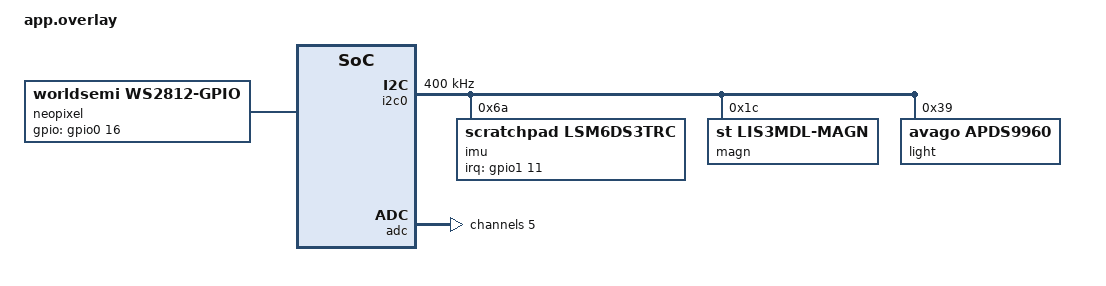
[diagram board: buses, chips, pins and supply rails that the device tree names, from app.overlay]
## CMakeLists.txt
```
# Freestanding Zephyr application: ZEPHYR_BASE must point at the Zephyr repo
# inside ~/zephyrproject.

cmake_minimum_required(VERSION 3.20.0)

# The out-of-tree LSM6DS3TR-C/LSM6DS33 driver. This must be set before
# find_package(Zephyr), because the Zephyr package walks ZEPHYR_EXTRA_MODULES
# while it processes Kconfig and devicetree bindings -- adding it afterwards
# leaves `scratchpad,lsm6ds3trc` an unknown compatible and the node unbound.
list(APPEND ZEPHYR_EXTRA_MODULES ${CMAKE_CURRENT_LIST_DIR}/drivers/lsm6ds3trc)

find_package(Zephyr REQUIRED HINTS $ENV{ZEPHYR_BASE})
project(feather_sense_zephyr)

target_sources(app PRIVATE
  src/main.cpp
  src/battery.cpp
  src/battery_level.cpp
  src/ble.cpp
  src/buttons.cpp
  src/codec.cpp
  src/env.cpp
  src/imu.cpp
  src/led.cpp
  src/magn.cpp
  src/rpc.cpp
  src/shell.cpp
  src/streams.cpp
  src/usb.cpp
)

# The `get build id` RPC (opcode 0x05) reports this. `git describe` is resolved
# at configure time, so a rebuild after a commit picks up the new value only on
# a cmake re-run -- which `west build` does whenever CMakeLists.txt changes and
# `-p auto` forces anyway.
execute_process(
  COMMAND git describe --always --dirty --tags
  WORKING_DIRECTORY ${CMAKE_CURRENT_LIST_DIR}
  OUTPUT_VARIABLE APP_GIT_DESCRIBE
  OUTPUT_STRIP_TRAILING_WHITESPACE
  ERROR_QUIET
)
if(NOT APP_GIT_DESCRIBE)
  set(APP_GIT_DESCRIBE "unknown")
endif()
target_compile_definitions(app PRIVATE APP_GIT_DESCRIBE="${APP_GIT_DESCRIBE}")
```

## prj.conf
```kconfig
# --- language ----------------------------------------------------------------
CONFIG_CPP=y
CONFIG_STD_CPP20=y
CONFIG_REQUIRES_FULL_LIBC=n
CONFIG_MAIN_STACK_SIZE=2048

CONFIG_LOG=y
# Deferred logging keeps formatting off the calling thread. Every sampling
# thread here logs from a timer or a trigger callback, where synchronous mode
# holds a spinlock across the whole USB write.
CONFIG_LOG_MODE_DEFERRED=y
CONFIG_LOG_CMDS=y
CONFIG_SHELL_BACKEND_SERIAL_LOG_LEVEL_INF=y

# --- i2c ---------------------------------------------------------------------
CONFIG_I2C=y
# CONFIG_I2C_NRFX_TWIM is deliberately NOT set here, and cannot be: like
# USE_STDC_LSM6DS3TR_C it is a promptless symbol (drivers/i2c/Kconfig.nrfx:23)
# and assigning it in a config file is a hard Kconfig error. It comes from
# app.overlay re-declaring &i2c0 as "nordic,nrf-twim" and from nowhere else, so
# the way to confirm the DMA peripheral is the one actually bound is
# `grep CONFIG_I2C_NRFX_TWIM build/zephyr/.config` after a build.

# --- sensors -----------------------------------------------------------------
CONFIG_SENSOR=y

# The out-of-tree IMU driver (drivers/lsm6ds3trc/). Its own Kconfig `select`s
# USE_STDC_LSM6DS3TR_C -- that symbol has no prompt, so assigning it here would
# be a hard Kconfig error rather than a no-op.
CONFIG_LSM6DS3TRC=y

# Drain the FIFO on the chip's own watermark interrupt rather than on a timer.
# The `irq-gpios` property in app.overlay is necessary but not sufficient: the
# driver's trigger-mode choice defaults to LSM6DS3TRC_TRIGGER_NONE, so without
# this line the property only makes the trigger *available*. GLOBAL_THREAD
# rather than OWN_THREAD because the handler does nothing but give a semaphore
# -- the draining happens on the application's own imu thread, which already
# exists and is already the highest-priority sampler.
CONFIG_LSM6DS3TRC_TRIGGER_GLOBAL_THREAD=y

# Both of these are traps: the driver's defaults are "0.625" Hz and +-4 gauss,
# neither of which is what this application wants. Output data rate is set,
# never inherited -- the failure mode of getting it wrong is re-reading samples
# the chip has not refreshed.
CONFIG_LIS3MDL_ODR="20"
CONFIG_LIS3MDL_FS=4

# The SHT30 driver defaults to PERIODIC mode at one measurement per second, not
# to the blocking single-shot conversion the design document assumed -- see
# drivers/sensor/sensirion/sht3xd/Kconfig. In periodic mode a fetch is a
# FETCH_DATA command and a read, and the chip NACKs it when no new measurement
# is ready. Against a 1 Hz consumer and a 1 MPS chip that is a race the consumer
# loses whenever it drifts ahead, which showed up as intermittent
# "Failed to fetch samples". Two measurements per second means a 1 Hz reader
# always finds one waiting. Measured on hardware.
CONFIG_SHT3XD_MPS_2=y

# Ambient light only. Gesture sense is off by default and stays off: nothing
# reads it, and it costs an I2C transaction per fetch.
CONFIG_APDS9960_ENABLE_ALS=y
CONFIG_APDS9960_ENABLE_GESTURE=n

# --- battery -----------------------------------------------------------------
# The `vbatt` voltage-divider node is already in the board DTS.
CONFIG_ADC=y

# --- button ------------------------------------------------------------------
CONFIG_GPIO=y
CONFIG_INPUT=y
# CONFIG_INPUT_THREAD_STACK_SIZE is deliberately left at its 1024 default. The
# button callback runs on the input subsystem's own thread and streams::emit()
# builds a batch on the caller's stack -- 242 bytes, sized for a full IMU
# notification even though a button sample is four -- which looked worth a bump
# until it was measured: `kernel thread stacks` after an `input report` shows the
# input thread peaking at 392 bytes, 38 % of the default. Measured, not assumed.

# --- status led --------------------------------------------------------------
CONFIG_LED_STRIP=y
CONFIG_WS2812_STRIP_GPIO=y
# Required, or ws2812_gpio.c does not compile. Left unset -- which is this
# board's default, since it pulls in the newer split HFCLK/LFCLK drivers -- the
# driver takes its `#else` branch at ws2812_gpio.c:139, which references a
# `drv_data` the surrounding function no longer declares. Build error, not a
# runtime one. See README.md, "known limitations".
CONFIG_CLOCK_CONTROL_NRF=y

# --- where the image is linked --------------------------------------------
# Without this the image links at flash offset 0 and `west flash` would write
# it over the s140 SoftDevice -- and over the MBR at 0x0 that the Adafruit
# bootloader itself depends on, which takes the bootloader with it and leaves
# SWD as the only way back. This board's *_uf2_defconfig files do not set it
# (the ItsyBitsy nRF52840, same bootloader and same layout, does:
# boards/adafruit/itsybitsy/adafruit_itsybitsy_nrf52840_defconfig), so it is an
# upstream board-support gap and this line is the whole fix. With it, the image
# links at the `code_partition` the DTS declares -- 0x26000, the Application
# partition -- and the UF2's start address says so.
#
# Check the BUILD OUTPUT, not `.config`. Grepping the config reads backwards:
# CONFIG_FLASH_LOAD_OFFSET is written as `=0` when this setting is MISSING and
# vanishes from the file entirely when it is PRESENT, so the grep finds nothing
# in the good case and a zero in the bad one. The line `west build` prints is
# the reliable check:
#   Converted to uf2, output size: ..., start address: 0x26000
# `0x0` there means the setting was lost and the image must not be flashed.
# Zephyr brings its own BLE controller and never calls the SoftDevice; it is
# left in place only because the bootloader expects it to be there.
CONFIG_USE_DT_CODE_PARTITION=y

# --- usb ---------------------------------------------------------------------
# The board's Kconfig.cdc_acm_serial.defconfig turns USB_DEVICE_STACK_NEXT and
# CDC_ACM_SERIAL_INITIALIZE_AT_BOOT on by itself. The boot-time initializer must
# be turned back OFF here: subsys/usb/device_next/app/cdc_acm_serial.c registers
# only `cdc_acm_0` ("This code only registers the first CDC-ACM instance"), so
# with it in charge the application's own cdc_acm_data instance is built, bound
# to a Zephyr device, and never enumerated -- writes to it succeed and go
# nowhere. src/usb.cpp does the usbd setup instead, with
# usbd_register_all_classes(), so both instances appear on the host.
CONFIG_CDC_ACM_SERIAL_INITIALIZE_AT_BOOT=n
CONFIG_SERIAL=y
CONFIG_UART_LINE_CTRL=y
CONFIG_UART_INTERRUPT_DRIVEN=y

# --- bluetooth ---------------------------------------------------------------
CONFIG_BT=y
CONFIG_BT_PERIPHERAL=y
CONFIG_BT_DEVICE_NAME="feather-sense"
CONFIG_BT_DEVICE_NAME_DYNAMIC=n

# The default ATT MTU is 23, which leaves 20 usable bytes -- one IMU sample and
# most of a header. Raising it is what makes the batching requirement mean
# anything: at 247 a notification carries 19 IMU samples.
CONFIG_BT_L2CAP_TX_MTU=247
CONFIG_BT_BUF_ACL_TX_SIZE=251
CONFIG_BT_BUF_ACL_RX_SIZE=251
CONFIG_BT_CTLR_DATA_LENGTH_MAX=251
# The nRF52840's 2M PHY. Together with the MTU this is where the expected win
# over the CircuitPython port's ~4.4 KB/s comes from -- not from interval
# tuning, which that port measured as a no-op.
CONFIG_BT_CTLR_PHY_2M=y
CONFIG_BT_USER_PHY_UPDATE=y
CONFIG_BT_AUTO_PHY_UPDATE=y
CONFIG_BT_GATT_AUTO_UPDATE_MTU=y

CONFIG_BT_PERIPHERAL_PREF_MIN_INT=6
CONFIG_BT_PERIPHERAL_PREF_MAX_INT=12
CONFIG_BT_PERIPHERAL_PREF_LATENCY=0
CONFIG_BT_PERIPHERAL_PREF_TIMEOUT=400

# Notifications are queued from the tx thread faster than one connection
# interval; without the extra buffers bt_gatt_notify() returns -ENOMEM under
# load rather than blocking.
CONFIG_BT_BUF_ACL_TX_COUNT=8
CONFIG_BT_CONN_TX_MAX=8
# Each queued ACL TX buffer needs an event buffer to carry its completion back
# from the controller, and the host asserts at build time that there are more
# of the latter than the former ("Increase Event RX buffer count to be greater
# than ACL TX buffer count"). This is that assertion satisfied, not a tuning
# choice.
CONFIG_BT_BUF_EVT_RX_COUNT=12

# --- rpc ---------------------------------------------------------------------
# `get serial` (opcode 0x04) reads the FICR DEVICEID words through this -- a
# real per-chip identifier rather than a build constant.
CONFIG_HWINFO=y
# `fs bootloader` needs sys_reboot().
CONFIG_REBOOT=y

# --- console shell -----------------------------------------------------------
CONFIG_SHELL=y
# `i2c scan i2c@40003000` is what answers which parts this board revision
# actually carries, and `i2c read_byte i2c@40003000 0x6a 0x0f` is what settles
# which IMU it has (0x69 = LSM6DS33, 0x6a = LSM6DS3TR-C).
CONFIG_I2C_SHELL=y
# Reads every stream with no host program attached, which is what tells a driver
# fault from an application one. SENSOR_SHELL is the expensive line -- it
# selects SENSOR_ASYNC_API and pulls in RTIO. Drop it first if this needs to
# shrink.
CONFIG_SENSOR_SHELL=y
CONFIG_ADC_SHELL=y
CONFIG_INPUT_SHELL=y
CONFIG_INPUT_EVENT_DUMP=y
CONFIG_KERNEL_SHELL=y
CONFIG_DEVICE_SHELL=y
# Every stack size in this application is a guess until `kernel thread stacks`
# has reported a high-water mark.
CONFIG_INIT_STACKS=y
CONFIG_THREAD_NAME=y
```

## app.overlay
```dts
/*
 * The board DTS declares exactly one of the six sensors on the internal I2C
 * bus (the SHT30). The IMU, the magnetometer, the light sensor and the
 * NeoPixel are invisible to devicetree until they are declared here.
 *
 * See README.md, "hardware notes".
 */

#include <zephyr/dt-bindings/adc/adc.h>
#include <zephyr/dt-bindings/gpio/gpio.h>
#include <zephyr/dt-bindings/i2c/i2c.h>
#include <zephyr/dt-bindings/led/led.h>

&i2c0 {
	/* EasyDMA. adafruit_feather_nrf52840_common.dtsi gives this bus
	 * "nordic,nrf-twi", the legacy register-at-a-time peripheral; TWIM is
	 * the same pins with DMA behind them. This one line is the whole of
	 * requirement 2's "use DMA where possible" on this board. Confirm it
	 * took with `grep CONFIG_I2C_NRFX_TWIM build/zephyr/.config`.
	 */
	compatible = "nordic,nrf-twim";
	clock-frequency = <I2C_BITRATE_FAST>;	/* 400 kHz */

	imu: lsm6ds3trc@6a {
		/* Out-of-tree; see drivers/lsm6ds3trc/. Zephyr ships no driver
		 * for either part this board has carried.
		 */
		compatible = "scratchpad,lsm6ds3trc";
		reg = <0x6a>;
		/* INT1, carrying the FIFO watermark. Nothing documents this
		 * pin -- it was found by driving INT1 statically high and
		 * reading every free GPIO, see README.md, "the imu's INT1
		 * line". The property alone does not switch the trigger on:
		 * the driver's Kconfig choice defaults to
		 * LSM6DS3TRC_TRIGGER_NONE, so prj.conf selects GLOBAL_THREAD
		 * as well.
		 */
		irq-gpios = <&gpio1 11 GPIO_ACTIVE_HIGH>;
	};

	magn: lis3mdl@1c {
		compatible = "st,lis3mdl-magn";
		reg = <0x1c>;
		/* No irq-gpios: selects CONFIG_LIS3MDL_TRIGGER_NONE. */
	};

	light: apds9960@39 {
		compatible = "avago,apds9960";
		reg = <0x39>;
		/* No int-gpios: selects CONFIG_APDS9960_FETCH_MODE_POLL. */
	};
};

/*
 * The battery divider's ADC channel.
 *
 * The board dtsi declares the `vbatt` voltage-divider node itself -- ADC
 * channel 5, output-ohms 100k, full-ohms 200k -- but it declares no `channel@5`
 * under &adc to go with it, and without one ADC_DT_SPEC_GET() yields a spec
 * with channel_cfg_dt_node_exists = false and vref_mv = 0. Nothing fails
 * loudly: adc_channel_setup_dt() configures no channel, the `adc` shell
 * answers "Channel 5 not configured", and adc_raw_to_millivolts_dt() multiplies
 * by a zero reference and reports 0 mV forever. Measured on hardware; the
 * design document had claimed the divider needed no overlay at all.
 */
&adc {
	#address-cells = <1>;
	#size-cells = <0>;

	channel@5 {
		reg = <5>;
		/* The divider halves the pack, so a 4.2 V cell presents 2.1 V.
		 * Gain 1/6 against the 0.6 V internal reference puts full scale
		 * at 3.6 V, which covers that with room to spare and is the
		 * usual nRF52 battery arrangement. */
		zephyr,gain = "ADC_GAIN_1_6";
		zephyr,reference = "ADC_REF_INTERNAL";
		/* The reference itself, not the full-scale input.
		 * adc_raw_to_millivolts_dt() reads this through DT_PROP_OR(...,
		 * 0), so omitting it costs a wrong answer rather than a build
		 * error -- every reading converts to 0 mV. */
		zephyr,vref-mv = <600>;
		/* 100k in parallel with 100k is a 50k source, which needs a
		 * long sample window; 40 us is the SAADC's maximum. */
		zephyr,acquisition-time = <ADC_ACQ_TIME(ADC_ACQ_TIME_MICROSECONDS, 40)>;
		zephyr,input-positive = <NRF_SAADC_AIN5>;
		zephyr,resolution = <12>;
	};
};

/*
 * The CPU clock, which the NeoPixel's bit-banged timing is derived from.
 *
 * `worldsemi,ws2812-gpio` has no clock of its own: it toggles the line with
 * inline assembly and counts NOPs, and Kconfig works out how many from
 * /cpus/cpu@0's clock-frequency. nrf52840.dtsi does not declare one (nrf52810
 * and nrf52805 do), and neither did this overlay, so CONFIG_DELAY_T1H and its
 * three siblings fell all the way through to their last-resort literals -- 7,
 * 6, 3 and 8 NOPs, which are values for a roughly 10 MHz part. At 64 MHz that
 * made a "1" bit's high pulse about 109 ns where the WS2812 wants 700, and the
 * LED decoded garbage: it lit, in the wrong colour, which is a far more
 * confusing failure than staying dark.
 *
 * Declaring the frequency here is what the driver's own binding does in its
 * first example, and it gives 44/38/22/51 NOPs. Nothing else on this SoC reads
 * the property -- the drivers that do are all for other vendors' parts.
 * Check it took: `grep CONFIG_DELAY_T build/zephyr/.config`.
 */
&{/cpus/cpu@0} {
	/* Path syntax, not a label: nrf52840.dtsi gives the node none. */
	clock-frequency = <64000000>;
};

/ {
	neopixel: ws2812 {
		compatible = "worldsemi,ws2812-gpio";
		gpios = <&gpio0 16 0>;
		chain-length = <1>;
		color-mapping = <LED_COLOR_ID_GREEN
				 LED_COLOR_ID_RED
				 LED_COLOR_ID_BLUE>;
	};

	aliases {
		imu0 = &imu;
		magn0 = &magn;
		light0 = &light;
	};
};

/*
 * A second CDC ACM instance, for binary sample data only. The board's own
 * `board_cdc_acm_uart` (from boards/common/usb/cdc_acm_serial.dtsi, which the
 * sense/uf2 variant includes) keeps the console, the shell and the log, so the
 * two can never share a pipe. This is the structural fix for the defect that
 * cost the CircuitPython port a trustworthy error counter.
 */
&zephyr_udc0 {
	cdc_acm_data: cdc_acm_data {
		compatible = "zephyr,cdc-acm-uart";
		/* The binding's `label` becomes the USB *interface string
		 * descriptor*, which is how the host tells the two ACM ports
		 * apart without assuming enumeration order: on Linux it lands
		 * in /sys/class/tty/ttyACMn/device/interface. host/ resolves
		 * the port by this string. See host/read_serial.py, find_port().
		 */
		label = "Feather Sense data";
	};
};

/* Same treatment for the board's own console instance, so neither port has to
 * be identified by elimination. */
&board_cdc_acm_uart {
	label = "Feather Sense console";
};
```

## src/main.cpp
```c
/*
 * Device readiness checks and thread startup, in dependency order.
 * Copyright (c) 2026 Bob DiMaiolo. SPDX-License-Identifier: Apache-2.0
 */

#include "battery.hpp"
#include "ble.hpp"
#include "buttons.hpp"
#include "env.hpp"
#include "imu.hpp"
#include "led.hpp"
#include "magn.hpp"
#include "streams.hpp"
#include "usb.hpp"

#include <zephyr/app_version.h>
#include <zephyr/kernel.h>
#include <zephyr/logging/log.h>

LOG_MODULE_REGISTER(main, LOG_LEVEL_INF);

namespace
{

/* A failed subsystem is logged and skipped rather than fatal. A board with a
 * dead magnetometer should still stream its accelerometer, and the shell should
 * still come up so the failure can be looked at.
 */
void bring_up(const char *what, int (*start)())
{
	const int ret = start();

	if (ret != 0) {
		LOG_ERR("%s did not start (%d)", what, ret);
	}
}

} /* namespace */

int main()
{
	LOG_INF("feather_sense_zephyr %s+%s", APP_VERSION_STRING, APP_GIT_DESCRIBE);

	/* USB first: the console, the shell and the log all ride a CDC ACM
	 * endpoint that nothing brings up until this runs, so everything logged
	 * before it is only visible in the deferred log's backlog.
	 */
	bring_up("usb", usb::start);

	/* Then the transports' consumers, so no producer can emit into a queue
	 * that nothing is draining.
	 */
	streams::start();
	bring_up("ble", ble::start);

	/* The LED before the battery thread, which paints it on its first
	 * reading.
	 */
	bring_up("led", led::start);

	bring_up("imu", imu::start);
	bring_up("magn", magn::start);
	bring_up("env", env::start);
	bring_up("battery", battery::start);
	bring_up("buttons", buttons::start);

	return 0;
}
```

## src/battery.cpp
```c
/*
 * Copyright (c) 2026 Bob DiMaiolo
 * SPDX-License-Identifier: Apache-2.0
 */

#include "battery.hpp"

#include "battery_level.hpp"
#include "codec.hpp"
#include "led.hpp"
#include "streams.hpp"

#include <zephyr/devicetree.h>
#include <zephyr/drivers/adc.h>
#include <zephyr/drivers/adc/voltage_divider.h>
#include <zephyr/kernel.h>
#include <zephyr/logging/log.h>

#include <hal/nrf_power.h>

LOG_MODULE_REGISTER(battery, LOG_LEVEL_INF);

namespace battery
{
namespace
{

/*
 * The `vbatt` node is already in the board DTS -- a voltage-divider on ADC
 * channel 5 with output-ohms 100k and full-ohms 200k. Going through
 * voltage_divider_scale_dt() rather than multiplying by a hand-written two is
 * what keeps the ratio a devicetree fact.
 */
/* DT_PATH, not DT_NODELABEL: the board dtsi declares this node as a bare
 * `vbatt { ... }` under the root with no label to reference it by. */
const voltage_divider_dt_spec vbatt = VOLTAGE_DIVIDER_DT_SPEC_GET(DT_PATH(vbatt));

constexpr size_t kStackSize = 1024;
K_THREAD_STACK_DEFINE(stack, kStackSize);
k_thread thread;

/* The lowest priority of the sampling threads: it is the least urgent work in
 * the application and the only one that also drives a bit-banged LED.
 */
constexpr int kPriority = 9;
constexpr int kPeriodMs = 1000;

k_timer timer;
Reading current;
Band band = Band::kUnknown;
bool have_reading;

/* Percent, the band and the emitted millivolts all derive from this rather than
 * from the instantaneous read. See README, "the reading is averaged over 30 s".
 */
MillivoltAverage average;
PercentHysteresis percent_held;

int read_millivolts(uint16_t &millivolts)
{
	int16_t raw = 0;
	adc_sequence sequence = {
		.buffer = &raw,
		.buffer_size = sizeof(raw),
	};

	/* Returns -ENOTSUP when the devicetree has no channel node for this
	 * spec, which is what happens without app.overlay's `channel@5` -- and
	 * is the whole reason that node exists. It leaves `buffer` alone.
	 */
	int ret = adc_sequence_init_dt(&vbatt.port, &sequence);
	if (ret < 0) {
		return ret;
	}

	ret = adc_read_dt(&vbatt.port, &sequence);
	if (ret < 0) {
		return ret;
	}

	int32_t value = raw;

	ret = adc_raw_to_millivolts_dt(&vbatt.port, &value);
	if (ret < 0) {
		return ret;
	}

	ret = voltage_divider_scale_dt(&vbatt, &value);
	if (ret < 0) {
		return ret;
	}

	millivolts = static_cast<uint16_t>(value < 0 ? 0 : value);

	return 0;
}

void entry(void *, void *, void *)
{
	k_timer_start(&timer, K_MSEC(kPeriodMs), K_MSEC(kPeriodMs));

	while (true) {
		k_timer_status_sync(&timer);

		uint16_t millivolts = 0;

		if (read_millivolts(millivolts) < 0) {
			LOG_WRN("battery read failed");
			/* Not fed to the average: the window is over readings,
			 * not over wall-clock, so a failure widens the span it
			 * covers rather than corrupting it.
			 */
			continue;
		}

		/* The filtered value is what goes on the wire, not just what
		 * the threshold is tested against -- a host plotting the raw
		 * reading would otherwise see the dither this exists to remove
		 * and disagree with the percent beside it.
		 */
		const uint16_t smoothed = average.add(millivolts);

		const Reading reading = {
			.millivolts = smoothed,
			.percent = percent_held.update(smoothed),
			/* USB presence, read straight off the SoC's USB
			 * regulator rather than inferred from whether a host
			 * has opened a port. Deliberately NOT averaged: this is
			 * a bit, not a level, and it changes on the sample it
			 * changes -- so on a charger connect it flips ~30 s
			 * before the millivolts beside it finish catching up. No charging-state
			 * correction is applied to the reading: the divider reads the pack's
			 * terminal, and charging elevates that somewhat, but no
			 * offset has been measured on this board and an
			 * uncalibrated one would be guesswork dressed as
			 * precision. See README.md.
			 */
			.flags = static_cast<uint8_t>(nrf_power_usbregstatus_vbusdet_get(NRF_POWER)
							      ? codec::kBatteryFlagUsb
							      : 0),
		};

		const bool percent_moved = !have_reading || reading.percent != current.percent ||
					   reading.flags != current.flags;

		current = reading;
		have_reading = true;

		/* The band moves in both directions and nothing latches it --
		 * band_for() applies hysteresis against whatever is painted.
		 *
		 * show() is called every cycle rather than only on a change:
		 * it already returns early when the band it is handed is the
		 * one on the pixel, so the "repaint only on a band change" rule
		 * is enforced in the one place that can actually know. It also
		 * means an `fs led` override restores itself on the next tick
		 * instead of persisting until the charge happens to cross a
		 * threshold.
		 */
		band = band_for(reading.percent, band);
		led::show(band);

		/* Requirement 1.7: transmitted only on a change of at least
		 * 1 %. percent is an integer, so any change is at least that.
		 */
		if (percent_moved) {
			streams::emit(codec::kStreamBattery, streams::now_ms(), 0, 1, &reading,
				      sizeof(reading));
		}
	}
}

} /* namespace */

Reading last()
{
	return current;
}

int start()
{
	if (!adc_is_ready_dt(&vbatt.port)) {
		LOG_ERR("the battery ADC channel is not ready");
		return -ENODEV;
	}

	int ret = adc_channel_setup_dt(&vbatt.port);
	if (ret < 0) {
		LOG_ERR("could not set up the battery ADC channel (%d)", ret);
		return ret;
	}

	k_timer_init(&timer, nullptr, nullptr);

	k_thread_create(&thread, stack, kStackSize, entry, nullptr, nullptr, nullptr, kPriority, 0,
			K_NO_WAIT);
	k_thread_name_set(&thread, "battery");

	return 0;
}

} /* namespace battery */
```

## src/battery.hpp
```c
/*
 * Battery sampling: the ADC read, the percent, and the status LED band.
 * Copyright (c) 2026 Bob DiMaiolo. SPDX-License-Identifier: Apache-2.0
 */

#ifndef FEATHER_SENSE_BATTERY_HPP_
#define FEATHER_SENSE_BATTERY_HPP_

#include <stdint.h>

#include "codec.hpp"

namespace battery
{

/*
 * The battery sample, which is also this module's public type.
 *
 * One type rather than two that must agree: the bytes `streams::emit()` puts on
 * the wire and the bytes RPC opcode 0x01 answers with are the same bytes, so a
 * separate API struct would be a copy of the wire layout with a copy's failure
 * mode. The layout itself lives in codec.hpp with the other four, where the
 * host-side parity test can compile it.
 */
using Reading = codec::BatterySample;

int start();

/* The most recent reading. RPC opcode 0x01 answers from this rather than
 * touching the ADC, which is what lets RPC run on the caller's thread.
 */
Reading last();

} /* namespace battery */

#endif /* FEATHER_SENSE_BATTERY_HPP_ */
```

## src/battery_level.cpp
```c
/*
 * Copyright (c) 2026 Bob DiMaiolo
 * SPDX-License-Identifier: Apache-2.0
 */

#include "battery_level.hpp"

namespace battery
{
namespace
{

constexpr int kRedMax = 25;
constexpr int kYellowMax = 60;
constexpr int kHysteresis = 3;

} /* namespace */

uint8_t percent_from_millivolts(int millivolts)
{
	if (millivolts <= kEmptyMillivolts) {
		return 0;
	}
	if (millivolts >= kFullMillivolts) {
		return 100;
	}

	/* Integer arithmetic throughout: the span is 1000 mV, so this is a
	 * division by 10 and cannot lose a percent to rounding.
	 */
	return static_cast<uint8_t>((millivolts - kEmptyMillivolts) * 100 /
				    (kFullMillivolts - kEmptyMillivolts));
}

uint16_t MillivoltAverage::add(uint16_t millivolts)
{
	/* A ring buffer with a running sum: the cost per reading is one add and
	 * one subtract regardless of the window size, and the sum cannot
	 * overflow a uint32_t -- 30 readings of at most 65535 is 1.97e6.
	 */
	if (count_ == kAverageSamples) {
		sum_ -= samples_[next_];
	} else {
		count_++;
	}

	samples_[next_] = millivolts;
	sum_ += millivolts;
	next_ = (next_ + 1) % kAverageSamples;

	/* Round to nearest rather than truncating: truncation biases the mean
	 * half a millivolt low every time, and the whole point here is to stop
	 * sub-percent noise from moving an integer percent.
	 */
	return static_cast<uint16_t>((sum_ + count_ / 2) / count_);
}

void MillivoltAverage::reset()
{
	sum_ = 0;
	count_ = 0;
	next_ = 0;
}

uint8_t PercentHysteresis::update(uint16_t millivolts)
{
	if (!have_) {
		held_ = percent_from_millivolts(millivolts);
		have_ = true;
		return held_;
	}

	/*
	 * The millivolt span that maps to the held percent, widened by the
	 * deadband at both ends. percent_from_millivolts() is a floor division
	 * by 10, so percent p covers [3200 + 10p, 3200 + 10p + 10) -- except at
	 * the clamps, where 0 runs down to nothing and 100 runs up to nothing.
	 * Testing an edge that does not exist would let a clamped reading
	 * re-report itself forever.
	 */
	const int low = kEmptyMillivolts + held_ * 10 - kDeadbandMillivolts;
	const int high = kEmptyMillivolts + (held_ + 1) * 10 + kDeadbandMillivolts;
	const bool below = held_ > 0 && millivolts < low;
	const bool above = held_ < 100 && millivolts >= high;

	if (below || above) {
		held_ = percent_from_millivolts(millivolts);
	}

	return held_;
}

void PercentHysteresis::reset()
{
	held_ = 0;
	have_ = false;
}

Band band_for(uint8_t percent, Band current)
{
	int red_max = kRedMax;
	int yellow_max = kYellowMax;

	switch (current) {
	case Band::kLow:
		red_max += kHysteresis;
		break;
	case Band::kMedium:
		red_max -= kHysteresis;
		yellow_max += kHysteresis;
		break;
	case Band::kHigh:
		yellow_max -= kHysteresis;
		break;
	case Band::kUnknown:
		break;
	}

	if (percent < red_max) {
		return Band::kLow;
	}
	if (percent < yellow_max) {
		return Band::kMedium;
	}

	return Band::kHigh;
}

} /* namespace battery */
```

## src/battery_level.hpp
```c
/*
 * Divider millivolts to percent, and the status-LED band with hysteresis.
 * Copyright (c) 2026 Bob DiMaiolo. SPDX-License-Identifier: Apache-2.0
 *
 * Free of Zephyr headers on purpose: tests/battery_level/ compiles this exact
 * file for native_sim.
 */

#ifndef FEATHER_SENSE_BATTERY_LEVEL_HPP_
#define FEATHER_SENSE_BATTERY_LEVEL_HPP_

#include <stddef.h>
#include <stdint.h>

namespace battery
{

/* The crude linear curve the CircuitPython port used, carried over unchanged:
 * no lookup table, no open-circuit-voltage correction, no coulomb counting. It
 * is wrong in the way every linear LiPo gauge is wrong, and it is the same kind
 * of wrong on both ports, which is worth more here than being differently
 * approximate.
 */
constexpr int kEmptyMillivolts = 3200;
constexpr int kFullMillivolts = 4200;

/* Clamped to 0..100. */
uint8_t percent_from_millivolts(int millivolts);

/*
 * A moving average of the last kAverageSamples readings.
 *
 * The ADC dithers by about 6.7 mV RMS, which is two thirds of a percent point
 * on the curve above, while a real discharge moves 17.5 mV/h -- one point every
 * 34 minutes. Unfiltered, requirement 1.7's "on a change of at least 1 %" fired
 * about 1100 times more often than that, on dither rather than on charge. The
 * measurements are in README, "the discharge curve".
 *
 * 30 samples at the 1 Hz sample period is ~30 s, which cuts the noise to about
 * 1.2 mV (an eighth of a point) for a lag of well under 2 % of the 34-minute
 * interval being measured. Longer windows buy progressively less.
 *
 * Averaging is over *samples*, not over wall-clock: a failed ADC read is never
 * added, so a run of failures widens the span the window covers rather than
 * feeding it invented values.
 */
constexpr size_t kAverageSamples = 30;

class MillivoltAverage
{
      public:
	/*
	 * Adds a reading and returns the mean of what the window now holds.
	 *
	 * Before the window fills this averages only the readings taken so far,
	 * so the first reading is returned unchanged rather than being dragged
	 * toward a zero that was never measured. The LED therefore shows a band
	 * immediately at boot instead of 30 s later.
	 */
	uint16_t add(uint16_t millivolts);

	/* How many readings the window holds, up to kAverageSamples. */
	size_t count() const
	{
		return count_;
	}

	void reset();

      private:
	uint16_t samples_[kAverageSamples] = {};
	uint32_t sum_ = 0;
	size_t count_ = 0;
	size_t next_ = 0;
};

/*
 * Integer percent with a deadband, so a level resting on a boundary stops
 * chattering across it.
 *
 * The 30 s average is most of the fix and not all of it: it leaves about 1.2 mV
 * of noise, and `percent` is an integer, so a filtered level sitting near a
 * boundary still flips back and forth. Replaying a 19.4 h discharge, the raw
 * stream emitted 2008/h, the average alone 53.9/h, and the average plus this
 * 1.2/h -- against 1.20 percent points/h of real change. The measurements are in
 * README, "the reading is averaged over 30 s".
 *
 * This is the same trick `band_for()` already uses one level up, for the same
 * reason: a threshold with no width is a threshold that rings.
 */
constexpr int kDeadbandMillivolts = 5;

class PercentHysteresis
{
      public:
	/*
	 * The percent to report for `millivolts`.
	 *
	 * Holds the last reported value until the reading leaves that value's
	 * millivolt span by more than kDeadbandMillivolts at either end; then
	 * reports whatever the curve now says, which may be several points away
	 * if the reading jumped. The first call reports exactly, so nothing has
	 * to climb out of a value never measured.
	 */
	uint8_t update(uint16_t millivolts);

	void reset();

      private:
	uint8_t held_ = 0;
	bool have_ = false;
};

enum class Band : uint8_t {
	kUnknown = 0, /* nothing painted yet -- no hysteresis to apply */
	kLow,
	kMedium,
	kHigh,
};

/*
 * The band to display at `percent`, given the band currently displayed.
 *
 * Bare thresholds are 25 % and 60 %; each moves by 3 points against the
 * direction of travel, so leaving red needs 28 %, falling back to it needs
 * below 22 %, climbing to green needs 63 %, and falling out of it needs below
 * 57 %. Nothing latches: the band moves in both directions, and no sequence of
 * inputs can pin it -- which is the property tests/battery_level/ checks, since
 * it is the one a plausible-looking implementation silently loses.
 */
Band band_for(uint8_t percent, Band current);

} /* namespace battery */

#endif /* FEATHER_SENSE_BATTERY_LEVEL_HPP_ */
```

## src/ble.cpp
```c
/*
 * Copyright (c) 2026 Bob DiMaiolo
 * SPDX-License-Identifier: Apache-2.0
 */

#include "ble.hpp"

#include "codec.hpp"
#include "rpc.hpp"
#include "streams.hpp"

#include <zephyr/bluetooth/bluetooth.h>
#include <zephyr/bluetooth/conn.h>
#include <zephyr/bluetooth/gatt.h>
#include <zephyr/bluetooth/uuid.h>
#include <zephyr/kernel.h>
#include <zephyr/logging/log.h>

LOG_MODULE_REGISTER(ble, LOG_LEVEL_INF);

namespace ble
{
namespace
{

/*
 * One custom 128-bit vendor primary service, f5e5xxxx-4a75-4b21-9d3e-6b1c2a7e0000.
 * Four notify characteristics, one per rate class, so a host can subscribe to
 * only what it needs, plus the RPC pair.
 */
#define FEATHER_UUID(id)                                                                           \
	BT_UUID_128_ENCODE(0xf5e50000 + (id), 0x4a75, 0x4b21, 0x9d3e, 0x6b1c2a7e0000)

static const bt_uuid_128 svc_uuid = BT_UUID_INIT_128(FEATHER_UUID(0));
static const bt_uuid_128 imu_uuid = BT_UUID_INIT_128(FEATHER_UUID(1));
static const bt_uuid_128 magn_uuid = BT_UUID_INIT_128(FEATHER_UUID(2));
static const bt_uuid_128 env_uuid = BT_UUID_INIT_128(FEATHER_UUID(3));
static const bt_uuid_128 events_uuid = BT_UUID_INIT_128(FEATHER_UUID(4));
static const bt_uuid_128 rpc_request_uuid = BT_UUID_INIT_128(FEATHER_UUID(5));
static const bt_uuid_128 rpc_response_uuid = BT_UUID_INIT_128(FEATHER_UUID(6));

/* The characteristics, in the order they appear in the service below. */
enum Characteristic {
	kCharImu,
	kCharMagn,
	kCharEnv,
	kCharEvents,
	kCharRpcResponse,
	kCharCount,
};

bool subscribed_char[kCharCount];

/*
 * The one connection, and the lock that makes handing it to another thread
 * safe.
 *
 * The transmit thread and the Bluetooth RX thread both touch this: the first
 * notifies through it, the second replaces it on connect and *releases* it on
 * disconnect. Without the lock, a null check on the transmit thread can be
 * followed by disconnected_cb() dropping the last reference -- returning the
 * object to the connection pool -- before bt_gatt_notify() is reached, and the
 * pointer that reaches the controller is then a freed one. Nothing forces the
 * compiler to reload a variable with internal linkage across an intervening
 * call either, so re-reading it is not a fix.
 *
 * claim_conn() takes a reference under the lock, so the object cannot be
 * recycled while a notify is in flight; the caller unrefs when it is done.
 */
bt_conn *current_conn;
K_MUTEX_DEFINE(conn_lock);

/* A referenced pointer to the current connection, or nullptr. Unref when done. */
bt_conn *claim_conn()
{
	k_mutex_lock(&conn_lock, K_FOREVER);

	bt_conn *const conn = current_conn != nullptr ? bt_conn_ref(current_conn) : nullptr;

	k_mutex_unlock(&conn_lock);

	return conn;
}

Characteristic characteristic_for(uint8_t stream_id)
{
	switch (stream_id) {
	case codec::kStreamImu:
		return kCharImu;
	case codec::kStreamMagn:
		return kCharMagn;
	case codec::kStreamEnv:
		return kCharEnv;
	default:
		/* Battery and button share the events characteristic: both are
		 * rare and neither needs its own subscription.
		 */
		return kCharEvents;
	}
}

/*
 * Recompute how many IMU samples fit in one notification.
 *
 * bt_gatt_get_mtu() reports the ATT MTU; 3 bytes go to the notification's own
 * opcode and handle, and 10 to the batch header. At CONFIG_BT_L2CAP_TX_MTU=247
 * this is 19 samples -- about 11 notifications per second at 208 Hz, and
 * roughly 91 ms of latency, which is the cap the design budgets for.
 */
void recompute_imu_batch(bt_conn *conn)
{
	if (conn == nullptr) {
		return;
	}

	const uint16_t mtu = bt_gatt_get_mtu(conn);
	if (mtu <= 3 + codec::kBatchHeaderBytes + codec::kImuSampleBytes) {
		streams::set_imu_batch_samples(1);
		return;
	}

	const uint16_t usable = mtu - 3 - codec::kBatchHeaderBytes;
	streams::set_imu_batch_samples(static_cast<uint8_t>(usable / codec::kImuSampleBytes));
	LOG_INF("ATT MTU %u -> %u IMU samples per notification", mtu, streams::imu_batch_samples());
}

void ccc_changed(Characteristic which, const bt_gatt_attr *attr, uint16_t value)
{
	ARG_UNUSED(attr);

	subscribed_char[which] = (value == BT_GATT_CCC_NOTIFY);

	if (which == kCharImu && subscribed_char[which]) {
		/* Through claim_conn() like every other use, even though this
		 * runs on the same thread as connected_cb() and so could not
		 * race with it. One rule for reaching the connection is worth
		 * more than an exception that has to be re-derived.
		 */
		bt_conn *const conn = claim_conn();

		if (conn != nullptr) {
			recompute_imu_batch(conn);
			bt_conn_unref(conn);
		}
	}
}

void imu_ccc_changed(const bt_gatt_attr *attr, uint16_t value)
{
	ccc_changed(kCharImu, attr, value);
}
void magn_ccc_changed(const bt_gatt_attr *attr, uint16_t value)
{
	ccc_changed(kCharMagn, attr, value);
}
void env_ccc_changed(const bt_gatt_attr *attr, uint16_t value)
{
	ccc_changed(kCharEnv, attr, value);
}
void events_ccc_changed(const bt_gatt_attr *attr, uint16_t value)
{
	ccc_changed(kCharEvents, attr, value);
}
void rpc_ccc_changed(const bt_gatt_attr *attr, uint16_t value)
{
	ccc_changed(kCharRpcResponse, attr, value);
}

/*
 * An RPC request arrives as a write. Every opcode answers from cached state --
 * `get battery` reads battery.cpp's last sample rather than the ADC -- so this
 * runs to completion on the Bluetooth RX thread without blocking it.
 */
ssize_t rpc_write(bt_conn *conn, const bt_gatt_attr *attr, const void *buf, uint16_t len,
		  uint16_t offset, uint8_t flags)
{
	ARG_UNUSED(conn);
	ARG_UNUSED(attr);
	ARG_UNUSED(flags);

	if (offset != 0) {
		return BT_GATT_ERR(BT_ATT_ERR_INVALID_OFFSET);
	}

	uint8_t response[codec::kRpcMaxFrameBytes];
	const size_t response_len =
		rpc::handle(static_cast<const uint8_t *>(buf), len, response, sizeof(response));

	if (response_len > 0) {
		notify_rpc(response, response_len);
	}

	return len;
}

BT_GATT_SERVICE_DEFINE(feather_svc, BT_GATT_PRIMARY_SERVICE(&svc_uuid),

		       BT_GATT_CHARACTERISTIC(&imu_uuid.uuid, BT_GATT_CHRC_NOTIFY,
					      BT_GATT_PERM_NONE, nullptr, nullptr, nullptr),
		       BT_GATT_CCC(imu_ccc_changed, BT_GATT_PERM_READ | BT_GATT_PERM_WRITE),

		       BT_GATT_CHARACTERISTIC(&magn_uuid.uuid, BT_GATT_CHRC_NOTIFY,
					      BT_GATT_PERM_NONE, nullptr, nullptr, nullptr),
		       BT_GATT_CCC(magn_ccc_changed, BT_GATT_PERM_READ | BT_GATT_PERM_WRITE),

		       BT_GATT_CHARACTERISTIC(&env_uuid.uuid, BT_GATT_CHRC_NOTIFY,
					      BT_GATT_PERM_NONE, nullptr, nullptr, nullptr),
		       BT_GATT_CCC(env_ccc_changed, BT_GATT_PERM_READ | BT_GATT_PERM_WRITE),

		       BT_GATT_CHARACTERISTIC(&events_uuid.uuid, BT_GATT_CHRC_NOTIFY,
					      BT_GATT_PERM_NONE, nullptr, nullptr, nullptr),
		       BT_GATT_CCC(events_ccc_changed, BT_GATT_PERM_READ | BT_GATT_PERM_WRITE),

		       BT_GATT_CHARACTERISTIC(&rpc_request_uuid.uuid,
					      BT_GATT_CHRC_WRITE | BT_GATT_CHRC_WRITE_WITHOUT_RESP,
					      BT_GATT_PERM_WRITE, nullptr, rpc_write, nullptr),

		       BT_GATT_CHARACTERISTIC(&rpc_response_uuid.uuid, BT_GATT_CHRC_NOTIFY,
					      BT_GATT_PERM_NONE, nullptr, nullptr, nullptr),
		       BT_GATT_CCC(rpc_ccc_changed, BT_GATT_PERM_READ | BT_GATT_PERM_WRITE), );

/*
 * The value attribute of each characteristic, which is what bt_gatt_notify()
 * wants.
 *
 * Resolved by UUID rather than by index into the service above. Counting
 * attributes by hand off the macro expansion works and survives exactly until
 * someone inserts a characteristic; and it cannot be guarded with a BUILD_ASSERT
 * on the array length, because `feather_svc.attrs` is a pointer rather than an
 * array and ARRAY_SIZE quietly answers 0. bt_gatt_find_by_uuid() matches the
 * *value* attribute for a characteristic UUID -- the declaration carries
 * BT_UUID_GATT_CHRC instead -- so this asks the question directly.
 */
const bt_gatt_attr *value_attrs[kCharCount];

int resolve_value_attrs()
{
	const bt_uuid *uuids[kCharCount] = {
		&imu_uuid.uuid,    &magn_uuid.uuid,         &env_uuid.uuid,
		&events_uuid.uuid, &rpc_response_uuid.uuid,
	};

	for (size_t i = 0; i < kCharCount; i++) {
		value_attrs[i] =
			bt_gatt_find_by_uuid(feather_svc.attrs, feather_svc.attr_count, uuids[i]);
		if (value_attrs[i] == nullptr) {
			LOG_ERR("characteristic %zu is not in the service", i);
			return -ENOENT;
		}
	}

	return 0;
}

const bt_gatt_attr *value_attr(Characteristic which)
{
	return value_attrs[which];
}

const bt_data ad[] = {
	BT_DATA_BYTES(BT_DATA_FLAGS, (BT_LE_AD_GENERAL | BT_LE_AD_NO_BREDR)),
	BT_DATA(BT_DATA_NAME_COMPLETE, CONFIG_BT_DEVICE_NAME, sizeof(CONFIG_BT_DEVICE_NAME) - 1),
};

const bt_data sd[] = {
	BT_DATA_BYTES(BT_DATA_UUID128_ALL, FEATHER_UUID(0)),
};

void connected_cb(bt_conn *conn, uint8_t err)
{
	if (err != 0) {
		LOG_ERR("connection failed (0x%02x)", err);
		return;
	}

	k_mutex_lock(&conn_lock, K_FOREVER);
	current_conn = bt_conn_ref(conn);
	k_mutex_unlock(&conn_lock);

	LOG_INF("connected");
}

void disconnected_cb(bt_conn *conn, uint8_t reason)
{
	ARG_UNUSED(conn);

	LOG_INF("disconnected (0x%02x)", reason);

	k_mutex_lock(&conn_lock, K_FOREVER);
	bt_conn *const released = current_conn;

	current_conn = nullptr;
	k_mutex_unlock(&conn_lock);

	/* Outside the lock: this drops *this* module's reference, and any
	 * notify still in flight holds its own, so the object survives until
	 * that one is released too.
	 */
	if (released != nullptr) {
		bt_conn_unref(released);
	}

	for (bool &flag : subscribed_char) {
		flag = false;
	}

	/* Back to the MTU-independent default until the next host negotiates. */
	streams::set_imu_batch_samples(streams::kMaxImuBatchSamples);

	/* Advertising is NOT restarted here. See recycled_cb(). */
}

/*
 * Restart advertising once the connection object has actually been freed.
 *
 * Doing this from disconnected_cb() is the obvious thing, and it does not work:
 * the connection object is still held at that point, so a *connectable*
 * advertiser has no slot to take and bt_le_adv_start() returns -ENOMEM. The
 * board then advertises never again while continuing to stream perfectly over
 * USB, which is what made it look fine. `recycled` is Zephyr's hook for exactly
 * this; its own documentation calls it "the event to listen for to start a new
 * connection or connectable advertiser". Measured: the error was -12, and the
 * second BLE connection to this board was the one that found it.
 *
 * It is also why notify()'s reference is safe to hold across a disconnect: this
 * fires when the last reference goes, whoever held it, so a notify in flight
 * delays the restart by its own duration rather than racing it.
 */
void recycled_cb()
{
	const int ret =
		bt_le_adv_start(BT_LE_ADV_CONN_FAST_1, ad, ARRAY_SIZE(ad), sd, ARRAY_SIZE(sd));
	if (ret != 0) {
		LOG_ERR("could not restart advertising (%d)", ret);
		return;
	}

	LOG_INF("advertising again");
}

/*
 * BlueZ raises the MTU shortly after connecting, and often after the host has
 * already subscribed. Recomputing here as well as in the CCC callback is what
 * keeps a subscription that arrived first from being stuck at 23 bytes.
 */
void mtu_updated_cb(bt_conn *conn, uint16_t tx, uint16_t rx)
{
	ARG_UNUSED(tx);
	ARG_UNUSED(rx);

	recompute_imu_batch(conn);
}

BT_CONN_CB_DEFINE(conn_callbacks) = {
	.connected = connected_cb,
	.disconnected = disconnected_cb,
	.recycled = recycled_cb,
};

bt_gatt_cb gatt_callbacks = {
	.att_mtu_updated = mtu_updated_cb,
};

} /* namespace */

/*
 * Both of these are advisory, and deliberately do not take a reference.
 *
 * streams::emit() asks subscribed() only to decide whether queueing a batch is
 * worth doing at all, and the answer can go stale between the question and the
 * transmit thread reaching it either way. That is harmless: notify() takes the
 * reference that matters, and a batch queued for a link that has since gone
 * away is dropped there rather than sent. What would not be harmless is holding
 * a reference across a queue, which is why neither does.
 */
bool connected()
{
	return current_conn != nullptr;
}

bool subscribed(uint8_t stream_id)
{
	return current_conn != nullptr && subscribed_char[characteristic_for(stream_id)];
}

void notify(const uint8_t *batch, size_t len)
{
	codec::BatchHeader header;

	if (!codec::unpack_batch_header(batch, len, header)) {
		return;
	}

	const Characteristic which = characteristic_for(header.stream_id);
	if (!subscribed_char[which] || value_attr(which) == nullptr) {
		return;
	}

	bt_conn *const conn = claim_conn();
	if (conn == nullptr) {
		return;
	}

	const int ret = bt_gatt_notify(conn, value_attr(which), batch, len);
	if (ret != 0) {
		LOG_DBG("notify on stream %u failed (%d)", header.stream_id, ret);
	}

	bt_conn_unref(conn);
}

void notify_rpc(const uint8_t *frame, size_t len)
{
	if (!subscribed_char[kCharRpcResponse] || value_attr(kCharRpcResponse) == nullptr) {
		return;
	}

	bt_conn *const conn = claim_conn();
	if (conn == nullptr) {
		return;
	}

	const int ret = bt_gatt_notify(conn, value_attr(kCharRpcResponse), frame, len);
	if (ret != 0) {
		LOG_WRN("rpc response notify failed (%d)", ret);
	}

	bt_conn_unref(conn);
}

int start()
{
	int ret = bt_enable(nullptr);
	if (ret != 0) {
		LOG_ERR("bt_enable failed (%d)", ret);
		return ret;
	}

	ret = resolve_value_attrs();
	if (ret != 0) {
		return ret;
	}

	bt_gatt_cb_register(&gatt_callbacks);

	ret = bt_le_adv_start(BT_LE_ADV_CONN_FAST_1, ad, ARRAY_SIZE(ad), sd, ARRAY_SIZE(sd));
	if (ret != 0) {
		LOG_ERR("advertising failed to start (%d)", ret);
		return ret;
	}

	LOG_INF("advertising as \"%s\"", CONFIG_BT_DEVICE_NAME);

	return 0;
}

} /* namespace ble */
```

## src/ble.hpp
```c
/*
 * The GATT service: four notify characteristics, one per rate class, plus the
 * RPC pair. Copyright (c) 2026 Bob DiMaiolo. SPDX-License-Identifier: Apache-2.0
 */

#ifndef FEATHER_SENSE_BLE_HPP_
#define FEATHER_SENSE_BLE_HPP_

#include <stddef.h>
#include <stdint.h>

namespace ble
{

/* Enables the controller and starts advertising. */
int start();

bool connected();

/*
 * Whether a host is subscribed to the characteristic that carries `stream_id`.
 * Streams share characteristics by rate class -- battery and button both ride
 * the events one -- so this is a question about the characteristic, not the
 * stream.
 */
bool subscribed(uint8_t stream_id);

/*
 * Notify one batch on the characteristic its header's stream_id selects. The
 * bytes are the batch, unchanged: BLE needs no framing, because a GATT
 * notification is already a delimited datagram.
 */
void notify(const uint8_t *batch, size_t len);

/* Notify one RPC response frame on the rpc response characteristic. */
void notify_rpc(const uint8_t *frame, size_t len);

} /* namespace ble */

#endif /* FEATHER_SENSE_BLE_HPP_ */
```

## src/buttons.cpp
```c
/*
 * Copyright (c) 2026 Bob DiMaiolo
 * SPDX-License-Identifier: Apache-2.0
 *
 * The board DTS already declares the user button: a gpio-keys `button0` on
 * gpio1 pin 2 with zephyr,code = INPUT_KEY_0 and the sw0 alias. Going through
 * the input subsystem means no debounce code and no polling loop here, and no
 * thread of this module's own -- the callback runs on the input subsystem's.
 */

#include "buttons.hpp"

#include "codec.hpp"
#include "streams.hpp"

#include <zephyr/devicetree.h>
#include <zephyr/input/input.h>
#include <zephyr/kernel.h>
#include <zephyr/logging/log.h>

LOG_MODULE_REGISTER(buttons, LOG_LEVEL_INF);

namespace
{

const device *const button_port = DEVICE_DT_GET(DT_GPIO_CTLR(DT_ALIAS(sw0), gpios));

void button_handler(input_event *event, void *)
{
	if (event->type != INPUT_EV_KEY) {
		return;
	}

	const codec::ButtonSample sample = {
		.code = static_cast<uint16_t>(event->code),
		.pressed = static_cast<uint8_t>(event->value != 0 ? 1 : 0),
		.pad = 0,
	};

	LOG_DBG("key %u %s", event->code, sample.pressed ? "press" : "release");

	streams::emit(codec::kStreamButton, streams::now_ms(), 0, 1, &sample, sizeof(sample));
}

} /* namespace */

/*
 * Registering against every device (NULL) rather than against one means
 * `input report 1 11 1` at the shell drives this whole path, synthetic event
 * included -- which is how the button stream is exercised end to end without
 * anyone touching the board.
 */
INPUT_CALLBACK_DEFINE(NULL, button_handler, NULL);

namespace buttons
{

int start()
{
	if (!device_is_ready(button_port)) {
		LOG_ERR("the button's GPIO controller is not ready");
		return -ENODEV;
	}

	return 0;
}

} /* namespace buttons */
```

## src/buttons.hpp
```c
/* Copyright (c) 2026 Bob DiMaiolo. SPDX-License-Identifier: Apache-2.0 */

#ifndef FEATHER_SENSE_BUTTONS_HPP_
#define FEATHER_SENSE_BUTTONS_HPP_

namespace buttons
{

int start();

} /* namespace buttons */

#endif /* FEATHER_SENSE_BUTTONS_HPP_ */
```
